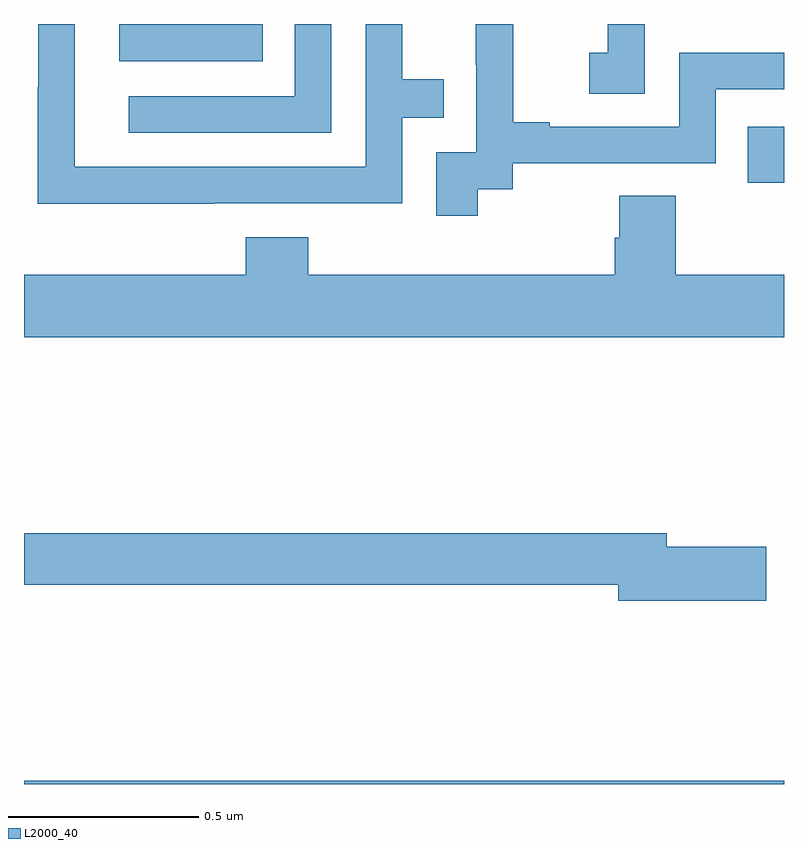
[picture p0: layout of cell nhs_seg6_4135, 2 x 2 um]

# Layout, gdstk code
import gdstk
lib = gdstk.Library(unit=1e-6, precision=1e-09)
def R(c, l, rs):  # rectangles x0, y0, x1, y1
    for r in rs: c.add(gdstk.rectangle(r[:2], r[2:], *l))
def P(c, l, *ps):  # polygons
    for p in ps: c.add(gdstk.Polygon(p, *l))
L2000_40 = (2000, 40)

nhs_seg6_4135 = lib.new_cell('nhs_seg6_4135')
R(nhs_seg6_4135, L2000_40, [(166,939.5,168,939.508), (167.905,941.082,168,941.229), (166.25,941.402,166.628,941.5)])
P(nhs_seg6_4135, L2000_40, [(167.194,941.065),(167.286,941.065),(167.286,941.133),(167.82,941.133),(167.82,941.328),(168,941.328),(168,941.424),(167.724,941.424),(167.724,941.229),(167.383,941.229),(167.383,941.242),(167.288,941.242),(167.288,941.5),(167.189,941.5),(167.189,941.393),(167.19,941.393),(167.19,941.163),(167.085,941.163),(167.085,940.995),(167.194,940.995)],
  [(166.809,941.5),(166.713,941.5),(166.713,941.31),(166.275,941.31),(166.275,941.214),(166.809,941.214)],
  [(167.634,941.5),(167.536,941.5),(167.536,941.425),(167.487,941.425),(167.487,941.316),(167.634,941.316)],
  [(166.499,941.028),(166.995,941.028),(166.995,941.253),(167.105,941.253),(167.105,941.354),(166.995,941.354),(166.995,941.5),(166.899,941.5),(166.899,941.124),(166.134,941.124),(166.134,941.5),(166.038,941.5),(166.038,941.333),(166.036,941.333),(166.036,941.027),(166.499,941.027)],
  [(168,940.84),(167.715,940.84),(167.715,941.048),(167.567,941.048),(167.567,940.938),(167.555,940.938),(167.555,940.84),(166.748,940.84),(166.748,940.939),(166.583,940.939),(166.583,940.84),(166,940.84),(166,940.676),(168,940.676)],
  [(167.953,940.124),(167.692,940.124),(167.692,940.16),(166,940.16),(166,940.024),(167.564,940.024),(167.564,939.982),(167.953,939.982)])

lib.write_gds('nhs_seg6_4135.gds')
